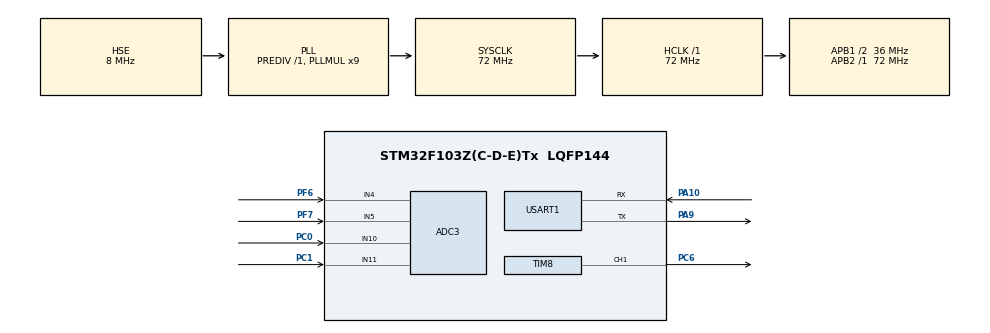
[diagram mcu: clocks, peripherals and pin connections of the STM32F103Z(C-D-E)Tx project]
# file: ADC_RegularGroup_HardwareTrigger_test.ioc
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ADC3.Channel-0\#ChannelRegularConversion=ADC_CHANNEL_11
ADC3.Channel-1\#ChannelRegularConversion=ADC_CHANNEL_10
ADC3.Channel-2\#ChannelRegularConversion=ADC_CHANNEL_5
ADC3.Channel-3\#ChannelRegularConversion=ADC_CHANNEL_4
ADC3.ExternalTrigConv=ADC_EXTERNALTRIGCONV_T8_TRGO
ADC3.NbrOfConversion=4
ADC3.NbrOfConversionFlag=1
ADC3.Rank-0\#ChannelRegularConversion=1
ADC3.Rank-1\#ChannelRegularConversion=2
ADC3.Rank-2\#ChannelRegularConversion=3
ADC3.Rank-3\#ChannelRegularConversion=4
ADC3.SamplingTime-0\#ChannelRegularConversion=ADC_SAMPLETIME_1CYCLE_5
ADC3.SamplingTime-1\#ChannelRegularConversion=ADC_SAMPLETIME_1CYCLE_5
ADC3.SamplingTime-2\#ChannelRegularConversion=ADC_SAMPLETIME_1CYCLE_5
ADC3.SamplingTime-3\#ChannelRegularConversion=ADC_SAMPLETIME_1CYCLE_5
Dma.ADC3.0.Direction=DMA_PERIPH_TO_MEMORY
Dma.ADC3.0.Instance=DMA2_Channel5
Dma.ADC3.0.MemDataAlignment=DMA_MDATAALIGN_HALFWORD
Dma.ADC3.0.MemInc=DMA_MINC_ENABLE
Dma.ADC3.0.Mode=DMA_CIRCULAR
Dma.ADC3.0.PeriphDataAlignment=DMA_PDATAALIGN_HALFWORD
Dma.ADC3.0.PeriphInc=DMA_PINC_DISABLE
Dma.ADC3.0.Priority=DMA_PRIORITY_LOW
Dma.Request0=ADC3
Mcu.Family=STM32F1
Mcu.Name=STM32F103Z(C-D-E)Tx
Mcu.Package=LQFP144
NVIC.DMA2_Channel4_5_IRQn=true\:0\:0\:false\:false\:true\:false\:true\:true
NVIC.PriorityGroup=NVIC_PRIORITYGROUP_4
OSC_IN.Mode=HSE-External-Oscillator
OSC_IN.Signal=RCC_OSC_IN
OSC_OUT.Mode=HSE-External-Oscillator
OSC_OUT.Signal=RCC_OSC_OUT
PA10.Mode=Asynchronous
PA10.Signal=USART1_RX
PA13.Mode=Serial_Wire
PA13.Signal=SYS_JTMS-SWDIO
PA14.Mode=Serial_Wire
PA14.Signal=SYS_JTCK-SWCLK
PA9.Mode=Asynchronous
PA9.Signal=USART1_TX
PC0.Signal=ADCx_IN10
PC1.Signal=ADCx_IN11
PC6.Signal=S_TIM8_CH1
PF6.Mode=IN4
PF6.Signal=ADC3_IN4
PF7.Mode=IN5
PF7.Signal=ADC3_IN5
ProjectManager.HeapSize=0x200
ProjectManager.StackSize=0x400
ProjectManager.TargetToolchain=MDK-ARM V5.32
RCC.ADCPresc=RCC_ADCPCLK2_DIV6
RCC.AHBFreq_Value=72000000
RCC.APB1CLKDivider=RCC_HCLK_DIV2
RCC.APB1Freq_Value=36000000
RCC.APB1TimFreq_Value=72000000
RCC.APB2Freq_Value=72000000
RCC.APB2TimFreq_Value=72000000
RCC.HCLKFreq_Value=72000000
RCC.PLLMUL=RCC_PLL_MUL9
RCC.PLLSourceVirtual=RCC_PLLSOURCE_HSE
RCC.SYSCLKFreq_VALUE=72000000
RCC.SYSCLKSource=RCC_SYSCLKSOURCE_PLLCLK
RCC.USBFreq_Value=72000000
SH.ADCx_IN10.0=ADC3_IN10,IN10
SH.ADCx_IN11.0=ADC3_IN11,IN11
SH.S_TIM8_CH1.0=TIM8_CH1,Output Compare1 CH1
TIM8.Channel-Output\ Compare1\ CH1=TIM_CHANNEL_1
TIM8.OC1Preload=ENABLE
TIM8.OCMode_1=TIM_OCMODE_TOGGLE
TIM8.Period=9999
TIM8.Prescaler=7199
TIM8.Pulse-Output\ Compare1\ CH1=3999
TIM8.TIM_MasterOutputTrigger=TIM_TRGO_OC1REF
USART1.Parity=PARITY_ODD
USART1.VirtualMode=VM_ASYNC
USART1.WordLength=WORDLENGTH_9B
VP_TIM8_VS_ClockSourceINT.Mode=Internal
board=custom

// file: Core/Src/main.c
/* USER CODE BEGIN Header */
/**
  ******************************************************************************
  * @file           : main.c
  * @brief          : Main program body
  ******************************************************************************
  * @attention
  *
  * Copyright (c) 2026 STMicroelectronics.
  * All rights reserved.
  *
  * This software is licensed under terms that can be found in the LICENSE file
  * in the root directory of this software component.
  * If no LICENSE file comes with this software, it is provided AS-IS.
  *
  ******************************************************************************
  */
/* USER CODE END Header */
#include "main.h"
#include "adc.h"
#include "dma.h"
#include "tim.h"
#include "usart.h"
#include "gpio.h"

/* USER CODE BEGIN Includes */
#include "BSP_Usart_Redir.h"
#include <stdbool.h>
/* USER CODE END Includes */

/* USER CODE BEGIN PV */
volatile bool g_dma_complete = false;
/* USER CODE END PV */

void SystemClock_Config(void);
/* USER CODE BEGIN PFP */
static float ADC_ConvertToVoltage(uint16_t adc_value);
/* USER CODE END PFP */

int main(void)
{

  /* MCU Configuration--------------------------------------------------------*/

  /* Reset of all peripherals, Initializes the Flash interface and the Systick. */
  HAL_Init();

  /* Configure the system clock */
  SystemClock_Config();

  /* Initialize all configured peripherals */
  MX_GPIO_Init();
  MX_DMA_Init();
  MX_ADC3_Init();
  MX_TIM8_Init();
  MX_USART1_UART_Init();
  /* USER CODE BEGIN 2 */
  BSP_Usart_Init(&huart1);

  volatile uint16_t values[4] = {0};
  const char *channel_names[4] = {
    "ADC3 Channel 11",
    "ADC3 Channel 10",
    "ADC3 Channel 5",
    "ADC3 Channel 4"
  };

  HAL_ADCEx_Calibration_Start(&hadc3);

  HAL_ADC_Start_DMA(&hadc3, (uint32_t*)values, 4);

  //HAL_TIM_Base_Start(&htim8);

  HAL_TIM_OC_Start(&htim8, TIM_CHANNEL_1);
  /* USER CODE END 2 */

  /* Infinite loop */
  /* USER CODE BEGIN WHILE */

  while (1)
  {
    if (g_dma_complete)
    {
      g_dma_complete = false;

      for (int i = 0; i < 4; i++)
      {
        float voltage = ADC_ConvertToVoltage(values[i]);
        printf("%s: %u, Voltage: %.2f V\r\n", channel_names[i], values[i], voltage);
      }
      printf("\r\n");
    }
    /* USER CODE END WHILE */

  }
}

void SystemClock_Config(void)
{
  RCC_OscInitTypeDef RCC_OscInitStruct = {0};
  RCC_ClkInitTypeDef RCC_ClkInitStruct = {0};
  RCC_PeriphCLKInitTypeDef PeriphClkInit = {0};

  /** Initializes the RCC Oscillators according to the specified parameters
  * in the RCC_OscInitTypeDef structure.
  */
  RCC_OscInitStruct.OscillatorType = RCC_OSCILLATORTYPE_HSE;
  RCC_OscInitStruct.HSEState = RCC_HSE_ON;
  RCC_OscInitStruct.HSEPredivValue = RCC_HSE_PREDIV_DIV1;
  RCC_OscInitStruct.HSIState = RCC_HSI_ON;
  RCC_OscInitStruct.PLL.PLLState = RCC_PLL_ON;
  RCC_OscInitStruct.PLL.PLLSource = RCC_PLLSOURCE_HSE;
  RCC_OscInitStruct.PLL.PLLMUL = RCC_PLL_MUL9;
  if (HAL_RCC_OscConfig(&RCC_OscInitStruct) != HAL_OK)
  {
    Error_Handler();
  }

  /** Initializes the CPU, AHB and APB buses clocks
  */
  RCC_ClkInitStruct.ClockType = RCC_CLOCKTYPE_HCLK|RCC_CLOCKTYPE_SYSCLK
                              |RCC_CLOCKTYPE_PCLK1|RCC_CLOCKTYPE_PCLK2;
  RCC_ClkInitStruct.SYSCLKSource = RCC_SYSCLKSOURCE_PLLCLK;
  RCC_ClkInitStruct.AHBCLKDivider = RCC_SYSCLK_DIV1;
  RCC_ClkInitStruct.APB1CLKDivider = RCC_HCLK_DIV2;
  RCC_ClkInitStruct.APB2CLKDivider = RCC_HCLK_DIV1;

  if (HAL_RCC_ClockConfig(&RCC_ClkInitStruct, FLASH_LATENCY_2) != HAL_OK)
  {
    Error_Handler();
  }
  PeriphClkInit.PeriphClockSelection = RCC_PERIPHCLK_ADC;
  PeriphClkInit.AdcClockSelection = RCC_ADCPCLK2_DIV6;
  if (HAL_RCCEx_PeriphCLKConfig(&PeriphClkInit) != HAL_OK)
  {
    Error_Handler();
  }
}

/* USER CODE BEGIN 4 */
static float ADC_ConvertToVoltage(uint16_t adc_value)
{
  const float reference_voltage = 3.3f; // Reference voltage for the ADC
  const uint16_t max_adc_value = 4095;   // Maximum value for a 12-bit ADC

  return (adc_value * reference_voltage) / max_adc_value;
}
void HAL_ADC_ConvCpltCallback(ADC_HandleTypeDef* hadc)
{
  if (hadc->Instance == ADC3)
  {
    g_dma_complete = true;
  }
}
/* USER CODE END 4 */

void Error_Handler(void)
{
  __disable_irq();
  while (1)
  {
  }
}
